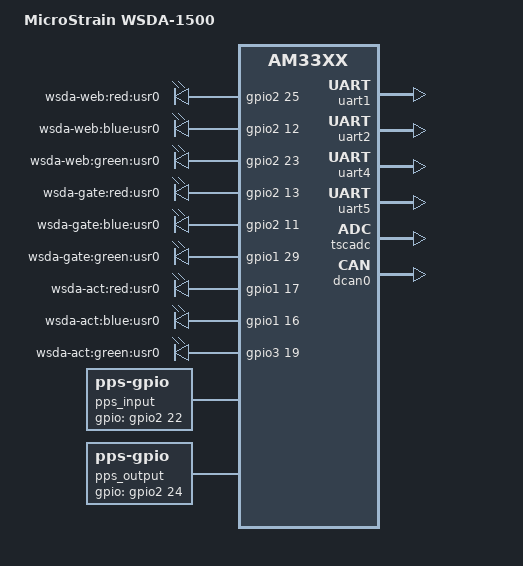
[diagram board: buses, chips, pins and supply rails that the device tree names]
/*
 * Copyright (C) 2019 Parker Hannifin - https://www.parker.com/
 *
 * This program is free software; you can redistribute it and/or modify
 * it under the terms of the GNU General Public License version 2 as
 * published by the Free Software Foundation.
 */
/dts-v1/;

#include "am33xx.dtsi"
#include "am335x-bone-common.dtsi"
#include "am335x-boneblack-common.dtsi"

/ {
	model = "MicroStrain WSDA-1500";
	compatible = "ti,am335x-wsda-1500", "ti,am33xx";
};

/ {
    wsda-gpio {
        pinctrl-names = "default";
        pinctrl-0 = <&wsda_gpio_pins>;
        compatible = "gpio-leds";

        webred { 
            label = "wsda-web:red:usr0"; 
            gpios = <&gpio2 25 GPIO_ACTIVE_HIGH>; 
            default-state = "on"; 
        }; 
    
        webblue { 
            label = "wsda-web:blue:usr0"; 
            gpios = <&gpio2 12 GPIO_ACTIVE_HIGH>; 
            default-state = "off"; 
        }; 
    
        webgreen { 
            label = "wsda-web:green:usr0"; 
            gpios = <&gpio2 23 GPIO_ACTIVE_HIGH>; 
            default-state = "off"; 
        }; 
    
        gatered { 
            label = "wsda-gate:red:usr0"; 
            gpios = <&gpio2 13 GPIO_ACTIVE_HIGH>; 
            default-state = "on"; 
        }; 
    
        gateblue { 
            label = "wsda-gate:blue:usr0"; 
            gpios = <&gpio2 11 GPIO_ACTIVE_HIGH>; 
            default-state = "off"; 
        }; 
    
        gategreen { 
            label = "wsda-gate:green:usr0"; 
            gpios = <&gpio1 29 GPIO_ACTIVE_HIGH>; 
            default-state = "off"; 
        }; 
    
        actred { 
            label = "wsda-act:red:usr0"; 
            gpios = <&gpio1 17 GPIO_ACTIVE_HIGH>; 
            default-state = "off"; 
        }; 
    
        actblue { 
            label = "wsda-act:blue:usr0"; 
            gpios = <&gpio1 16 GPIO_ACTIVE_HIGH>; 
            default-state = "off"; 
        }; 
    
        actgreen { 
            label = "wsda-act:green:usr0"; 
            gpios = <&gpio3 19 GPIO_ACTIVE_HIGH>; 
            default-state = "off"; 
        };
    };

    pps_input {
        compatible = "pps-gpio";
        status = "okay";

        pinctrl-names = "default";
        pinctrl-0 = <&pps_input_pins>;

        gpios = <&gpio2 22 GPIO_ACTIVE_HIGH>;
        assert-rising-edge;
    };

    pps_output {
        compatible = "pps-gpio";
        status = "okay";

        pinctrl-names = "default";
        pinctrl-0 = <&pps_output_pins>;

        gpios = <&gpio2 24 GPIO_ACTIVE_HIGH>;
        assert-falling-edge;
    };
};

&am335x_pinmux {
    wsda_gpio_pins: pinmux_wsdagpio_pins { 
        pinctrl-single,pins = < 
            /* gate red, blue, green */ 
            AM33XX_IOPAD(0x8bc, PIN_OUTPUT | MUX_MODE7) /* P8.40 lcd_data7.gpio2_13 */ 
            AM33XX_IOPAD(0x8b4, PIN_OUTPUT | MUX_MODE7) /* P8.42 lcd_data5.gpio2_11 */ 
            AM33XX_IOPAD(0x87c, PIN_OUTPUT | MUX_MODE7) /* P8.26 gpmc_csn0.gpio1_29 */ 
        
            /* WEB Red, Blue, Green */ 
            AM33XX_IOPAD(0x8ec, PIN_OUTPUT | MUX_MODE7) /* P8.30 lcd_ac_bias_en.gpio2_25 */ 
            AM33XX_IOPAD(0x8b8, PIN_OUTPUT | MUX_MODE7) /* P8.39 lcd_data6.gpio2_12 */ 
            AM33XX_IOPAD(0x8e4, PIN_OUTPUT | MUX_MODE7) /* P8.29 lcd_hsync.gpio2_23 */ 
        
            /* Activity Red, Blue, Green */ 
            AM33XX_IOPAD(0x844, PIN_OUTPUT | MUX_MODE7) /* P9.23 (Red) gpmc_a1.gpio1_17 */ 
            AM33XX_IOPAD(0x840, PIN_OUTPUT | MUX_MODE7) /* P9.15 (Blue) gpmc_a0.gpio1_16 */ 
            AM33XX_IOPAD(0x9a4, PIN_OUTPUT | MUX_MODE7) /* P9.27 (Green) mcasp0_fsr.gpio3_19 */ 
        
            /* Input gpio */ 
            AM33XX_IOPAD(0x8a0, PIN_INPUT | MUX_MODE7) /* P8.45 lcd_data0.gpio2_6 */ 
            AM33XX_IOPAD(0x8a4, PIN_INPUT | MUX_MODE7) /* P8.46 lcd_data1.gpio2_7 */ 
            AM33XX_IOPAD(0x8a8, PIN_INPUT | MUX_MODE7) /* P8.43 lcd_data2.gpio2_8 */ 
            AM33XX_IOPAD(0x8ac, PIN_INPUT | MUX_MODE7) /* P8.44 lcd_data3.gpio2_9 */ 
        >; 
    };

    uart1_pins: pinmux_uart1_pins { 
        pinctrl-single,pins = < 
            AM33XX_IOPAD(0x980, PIN_INPUT_PULLUP | MUX_MODE0)   /* uart1_rxd.uart1_rxd */ 
            AM33XX_IOPAD(0x984, PIN_OUTPUT_PULLDOWN | MUX_MODE0)    /* uart1_txd.uart1_txd */ 
        >; 
    };
 
    uart2_pins: pinmux_uart2_pins { 
        pinctrl-single,pins = < 
            AM33XX_IOPAD(0x950, PIN_INPUT_PULLUP | MUX_MODE1)   /* spi0_sck.uart2_rxd */ 
            AM33XX_IOPAD(0x954, PIN_OUTPUT_PULLDOWN | MUX_MODE1)    /* spi0_d0.uart2_txd */ 
        >; 
    };
 
    uart4_pins: pinmux_uart4_pins { 
        pinctrl-single,pins = < 
            AM33XX_IOPAD(0x870, PIN_INPUT_PULLUP | MUX_MODE6)   /* gpmc_wait0.uart4_rxd */ 
            AM33XX_IOPAD(0x874, PIN_OUTPUT_PULLDOWN | MUX_MODE6)    /* gpmc_wpn.uart4_txd */ 
      /* timing engine pps pins */ 
        >; 
    };
 
    uart5_pins: pinmux_uart5_pins { 
        pinctrl-single,pins = < 
            AM33XX_IOPAD(0x8c4, PIN_INPUT | MUX_MODE4)  /* lcd_data9.uart5_rxd */ 
            AM33XX_IOPAD(0x8c0, PIN_OUTPUT | MUX_MODE4) /* lcd_data8.uart5_txd */ 
            AM33XX_IOPAD(0x8d8, PIN_INPUT | MUX_MODE6)  /* lcd_data14.uart5_ctsn */ 
            AM33XX_IOPAD(0x8dc, PIN_OUTPUT | MUX_MODE6) /* lcd_data15.uart5_rtsn */ 
        >; 
    };
 
    dcan0_pins: pinmux_dcan0_pins { 
        pinctrl-single,pins = < 
            AM33XX_IOPAD(0x97c, PIN_INPUT_PULLUP | MUX_MODE2)   /* uart1_rtsn.dcan0_rx */ 
            AM33XX_IOPAD(0x978, PIN_OUTPUT_PULLDOWN | MUX_MODE2)    /* uart1_ctsn.dcan0_tx */ 
        >; 
    };

    pps_output_pins: pps_output_pins { 
        pinctrl-single,pins = < 
            AM33XX_IOPAD(0x8e8, PIN_INPUT | MUX_MODE7)  /* lcd_pclk.gpio2_24 */ 
        >; 
    }; 
 
    pps_input_pins: pps_input_pins { 
        pinctrl-single,pins = < 
            AM33XX_IOPAD(0x8e0, PIN_INPUT | MUX_MODE7)  /* lcd_vsync.gpio2_22 */ 
        >; 
    }; 
};

&uart1 {
    pinctrl-names = "default";
    pinctrl-0 = <&uart1_pins>;
    status = "okay";
};

&uart2 { 
    pinctrl-names = "default"; 
    pinctrl-0 = <&uart2_pins>; 
    status = "okay"; 
}; 
 
&uart4 { 
    pinctrl-names = "default"; 
    pinctrl-0 = <&uart4_pins>; 
    status = "okay"; 
}; 
 
&uart5 { 
    pinctrl-names = "default"; 
    pinctrl-0 = <&uart5_pins>; 
    status = "okay"; 
}; 
 
&tscadc { 
    status = "okay"; 
}; 
 
&am335x_adc { 
    ti,adc-channels = <4>; 
}; 
 
&dcan0 { 
    pinctrl-names = "default"; 
    pinctrl-0 = <&dcan0_pins>; 
    status = "okay"; 
};

&lcdc {
    status = "disabled";
}

&i2c2 {
    status = "disabled";
}

&tda19988 {
    status = "disabled";
}

&cpu0_opp_table {
	/*
	 * All PG 2.0 silicon may not support 1GHz but some of the early
	 * BeagleBone Blacks have PG 2.0 silicon which is guaranteed
	 * to support 1GHz OPP so enable it for PG 2.0 on this board.
	 */
	oppnitro-1000000000 {
		opp-supported-hw = <0x06 0x0100>;
	};
};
